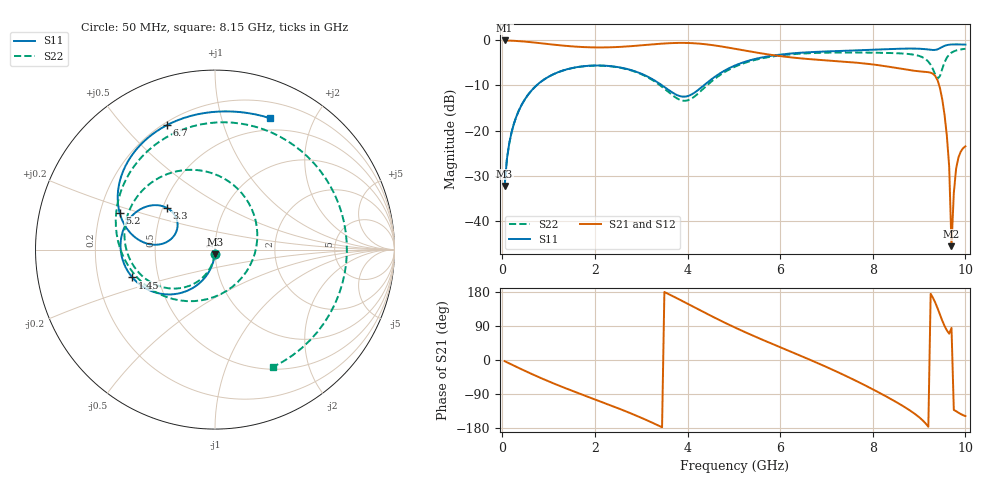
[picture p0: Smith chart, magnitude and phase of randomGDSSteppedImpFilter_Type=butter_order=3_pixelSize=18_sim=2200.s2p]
! freq	dB(S11)	phase(S11)	dB(S12)	phase(S12)
!  dB(S21)	phase(S21)	dB(S22)	phase(S22)
!S-par simulation data
#  GHz  S  DB  R 50
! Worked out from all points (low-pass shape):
!   200 points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, 50 MHz to 10 GHz, reference 50 ohm
!   highest |S21| = -0.01 dB at 50 MHz (marker M1); lowest = -45.7 dB at 9.7 GHz (marker M2)
!   |S21| within 3 dB of the highest: start of sweep to 5.676 GHz
!   lowest |S11| = -32.3 dB at 50 MHz (marker M3), VSWR 1.05, Z = 49.8 - j2.41 ohm
!   |S11| at or under -10 dB: start of sweep to 737.9 MHz; 3.454 GHz to 4.349 GHz (895.4 MHz wide, 22.9 % of centre)
!   |S22| runs from -32.3 to -1.9 dB; largest |S21 - S12| = 0
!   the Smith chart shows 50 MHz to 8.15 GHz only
!   S11 on the Smith chart (normalised r, x): 50 MHz: 1.00, -0.05; 1.45 GHz: 0.35, -0.14; 3.3 GHz: 0.52, +0.28; 5.2 GHz: 0.28, +0.17; 6.7 GHz: 0.21, +0.66; 8.15 GHz: 0.36, +1.44
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0.05  -32.32 -92.8  -0.01 -3.0  -0.01 -3.0  -32.32 -93.3
0.2  -20.39 -101.4  -0.06 -11.9  -0.06 -11.9  -20.40 -103.3
0.45  -13.70 -114.8  -0.23 -26.5  -0.23 -26.5  -13.71 -119.1
1.45  -6.26 -161.4  -1.27 -78.5  -1.27 -78.5  -6.28 -176.5
1.75  -5.73 -173.3  -1.47 -92.5  -1.47 -92.5  -5.75 167.4
3.3  -8.96 139.1  -0.83 -168.9  -0.83 -168.9  -9.18 64.4
3.4  -9.62 138.5  -0.75 -174.6  -0.75 -174.6  -9.91 53.8
4.3  -10.42 174.1  -0.75 129.5  -0.75 129.5  -11.11 -98.4
5.05  -5.45 163.4  -1.90 84.2  -1.90 84.2  -5.72 -177.3
5.2  -4.88 158.8  -2.18 75.8  -2.18 75.8  -5.11 170.9
6.7  -2.58 111.1  -4.21 -2.3  -4.21 -2.3  -2.80 64.0
7.5  -2.26 87.1  -4.81 -46.8  -4.81 -46.8  -2.68 -1.3
8.15  -2.01 67.3  -5.53 -87.0  -5.53 -87.0  -2.74 -63.9
8.35  -1.92 60.8  -5.84 -100.2  -5.84 -100.2  -2.79 -85.1
9.05  -1.87 36.8  -6.90 -156.2  -6.90 -156.2  -3.62 -176.8
9.3  -2.12 30.3  -7.41 164.0  -7.41 164.0  -6.39 108.6
9.4  -1.97 29.5  -8.87 136.3  -8.87 136.3  -8.48 36.6
9.6  -1.04 21.8  -21.19 78.1  -21.19 78.1  -3.81 -103.3
9.65  -0.95 18.9  -28.03 69.5  -28.03 69.5  -3.14 -120.9
9.7  -0.90 16.2  -45.66 84.6  -45.66 84.6  -2.71 -135.1
9.8  -0.88 11.1  -28.42 -135.1  -28.42 -135.1  -2.23 -157.1
10  -0.92 1.7  -23.51 -148.1  -23.51 -148.1  -1.86 172.0
